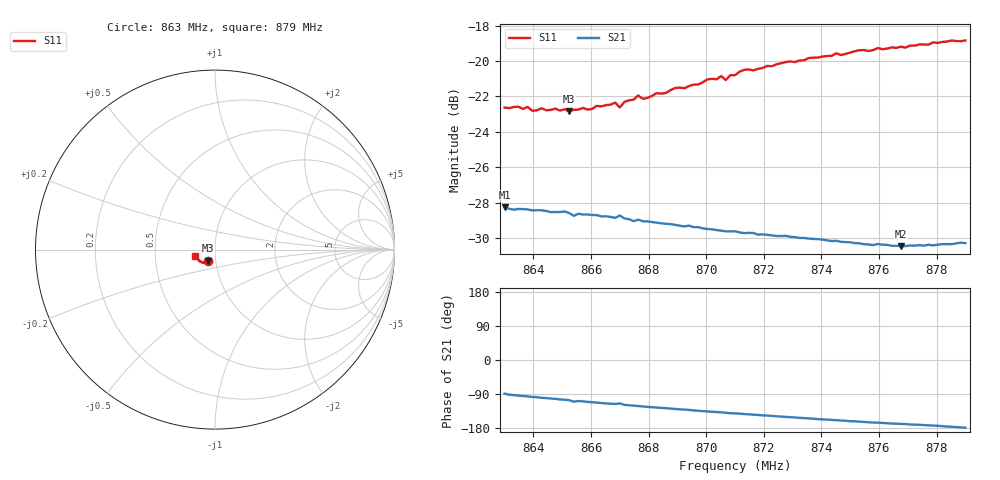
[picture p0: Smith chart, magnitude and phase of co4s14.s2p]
# HZ S RI R 50
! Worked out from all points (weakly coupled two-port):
!   101 points, 863 MHz to 879 MHz, reference 50 ohm
!   highest |S21| = -28.27 dB at 863 MHz (marker M1); lowest = -30.5 dB at 876.76 MHz (marker M2)
!   lowest |S11| = -22.8 dB at 865.24 MHz (marker M3), VSWR 1.16, Z = 46 - j5.7 ohm
!   |S11| at or under -10 dB: start of sweep to end of sweep
!   S12 and S22 are empty: the file has one direction only
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8.63e8  -0.0404 -0.0618  0.000862 -0.0386  0 0  0 0
8.6524e8  -0.0376 -0.0616  -0.0103 -0.0357  0 0  0 0
8.654e8  -0.0377 -0.0622  -0.0125 -0.0343  0 0  0 0
8.6572e8  -0.0375 -0.0635  -0.0121 -0.0348  0 0  0 0
8.6604e8  -0.0374 -0.063  -0.0134 -0.0342  0 0  0 0
8.6684e8  -0.0389 -0.0657  -0.0159 -0.0323  0 0  0 0
8.67e8  -0.0334 -0.066  -0.0152 -0.0333  0 0  0 0
8.6716e8  -0.0387 -0.0662  -0.017 -0.0316  0 0  0 0
8.6764e8  -0.0418 -0.0681  -0.0186 -0.0303  0 0  0 0
8.678e8  -0.0394 -0.0676  -0.019 -0.0297  0 0  0 0
8.6844e8  -0.0413 -0.0696  -0.0206 -0.028  0 0  0 0
8.6972e8  -0.046 -0.0725  -0.0235 -0.0244  0 0  0 0
8.7004e8  -0.0489 -0.0741  -0.024 -0.0234  0 0  0 0
8.7052e8  -0.0523 -0.0741  -0.0248 -0.022  0 0  0 0
8.7068e8  -0.0504 -0.0726  -0.0249 -0.0216  0 0  0 0
8.7084e8  -0.0547 -0.0731  -0.0254 -0.021  0 0  0 0
8.71e8  -0.054 -0.0735  -0.0256 -0.0209  0 0  0 0
8.7132e8  -0.0579 -0.0747  -0.026 -0.0198  0 0  0 0
8.7372e8  -0.0735 -0.071  -0.0285 -0.0133  0 0  0 0
8.7644e8  -0.0943 -0.0553  -0.0294 -0.00642  0 0  0 0
8.7676e8  -0.0956 -0.0541  -0.0294 -0.00586  0 0  0 0
8.79e8  -0.1088 -0.0352  -0.0306 -0.000658  0 0  0 0
